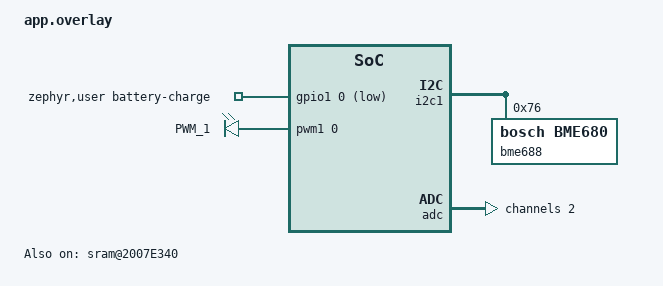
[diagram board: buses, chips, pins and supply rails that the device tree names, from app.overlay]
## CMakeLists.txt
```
#
# Copyright (c) 2021 Nordic Semiconductor ASA
#
# SPDX-License-Identifier: LicenseRef-Nordic-5-Clause
#

cmake_minimum_required(VERSION 3.20.0)

find_package(Zephyr REQUIRED HINTS $ENV{ZEPHYR_BASE})

project(matter-weather-station)

# Enable GNU STD support and initialize the Matter Data Model.
include(${ZEPHYR_CONNECTEDHOMEIP_MODULE_DIR}/config/nrfconnect/app/enable-gnu-std.cmake)
include(${ZEPHYR_CONNECTEDHOMEIP_MODULE_DIR}/src/app/chip_data_model.cmake)

# NORDIC SDK APP START

# Include all source files that are located in the Matter common directory.
include(${ZEPHYR_NRF_MODULE_DIR}/samples/matter/common/cmake/source_common.cmake)

target_include_directories(app PRIVATE
    src
    ${CONFIG_NCS_SAMPLE_MATTER_ZAP_FILES_PATH}
)

target_sources(app PRIVATE
    src/app_task.cpp
    src/main.cpp
    src/battery.cpp
    src/buzzer.cpp
)

chip_configure_data_model(app
    INCLUDE_SERVER
    BYPASS_IDL
    GEN_DIR ${CONFIG_NCS_SAMPLE_MATTER_ZAP_FILES_PATH}/zap-generated
    ZAP_FILE ${CMAKE_CURRENT_SOURCE_DIR}/${CONFIG_NCS_SAMPLE_MATTER_ZAP_FILES_PATH}/weather-station.zap
)
# NORDIC SDK APP END
```

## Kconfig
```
#
# Copyright (c) 2021 Nordic Semiconductor
#
# SPDX-License-Identifier: LicenseRef-Nordic-5-Clause
#

mainmenu "Matter weather station application"

config AVERAGE_CURRENT_CONSUMPTION
	int "Average device current consumption in microamperes"
	default 0
	help
	  The predicted average current consumption of the Matter weather station
	  device, used to estimate the remaining battery time.

# Application configuration used for Thread networking
if NET_L2_OPENTHREAD

choice OPENTHREAD_NORDIC_LIBRARY_CONFIGURATION
	default OPENTHREAD_NORDIC_LIBRARY_MTD
endchoice

choice OPENTHREAD_DEVICE_TYPE
	default OPENTHREAD_MTD
endchoice

config IEEE802154_NRF5_RX_STACK_SIZE
	default 8192

config CHIP_ENABLE_ICD_SUPPORT
	default y

endif # NET_L2_OPENTHREAD

if CHIP_WIFI

config NRF_WIFI_LOW_POWER
	default y

endif # CHIP_WIFI

source "${ZEPHYR_CONNECTEDHOMEIP_MODULE_DIR}/config/nrfconnect/chip-module/Kconfig.features"
source "${ZEPHYR_CONNECTEDHOMEIP_MODULE_DIR}/config/nrfconnect/chip-module/Kconfig.defaults"
source "${ZEPHYR_NRF_MODULE_DIR}/samples/matter/common/src/Kconfig"
source "Kconfig.zephyr"
```

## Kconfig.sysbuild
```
#
# Copyright (c) 2023 Nordic Semiconductor ASA
#
# SPDX-License-Identifier: LicenseRef-Nordic-5-Clause
#

#### Radio core
config NRF_DEFAULT_IPC_RADIO
	default y

# Enable IEEE802.15.4 serialization to network core
# This config automatically pulls in the `overlay-802154.conf` in the ipc_radio image
config NETCORE_IPC_RADIO_IEEE802154
	default y if !WIFI_NRF70

# Enable Bluetooth serialization to network core
# This config automatically pulls in the `overlay-bt_hci_ipc.conf` in the ipc_radio image
config NETCORE_IPC_RADIO_BT_HCI_IPC
	default y

choice BOOTLOADER
	default BOOTLOADER_MCUBOOT
endchoice

#### Bootloader
choice MCUBOOT_MODE
	default MCUBOOT_MODE_OVERWRITE_ONLY
endchoice

choice BOOT_SIGNATURE_TYPE
	default BOOT_SIGNATURE_TYPE_RSA
endchoice

config SECURE_BOOT_NETCORE
	default y

config NETCORE_APP_UPDATE
	default y

#### DFU multi-image support
config DFU_MULTI_IMAGE_PACKAGE_BUILD
	default y

config DFU_MULTI_IMAGE_PACKAGE_APP
	default y

config DFU_MULTI_IMAGE_PACKAGE_NET
	default y

config PM_EXTERNAL_FLASH_MCUBOOT_SECONDARY
	default y

source "${ZEPHYR_BASE}/share/sysbuild/Kconfig"
```

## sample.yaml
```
sample:
  name: Matter Weather Station
  description: Matter Weather Station application
tests:
  # This configuration is used for performing DFU over BLE between different NCS
  # applications on Thingy53.
  applications.matter_weather_station.debug.no_fd:
    sysbuild: true
    build_only: true
    platform_allow: thingy53/nrf5340/cpuapp
    platform_exclude: thingy53/nrf5340/cpuapp/ns
    integration_platforms:
      - thingy53/nrf5340/cpuapp
    tags: sysbuild ci_applications_matter
  applications.matter_weather_station.debug:
    sysbuild: true
    build_only: true
    extra_args: OVERLAY_CONFIG=overlay-factory_data.conf
      FILE_SUFFIX=factory_data
      CONFIG_CHIP_FACTORY_DATA=y SB_CONFIG_MATTER_FACTORY_DATA_GENERATE=y
    platform_allow: thingy53/nrf5340/cpuapp
    platform_exclude: thingy53/nrf5340/cpuapp/ns
    integration_platforms:
      - thingy53/nrf5340/cpuapp
    tags: sysbuild ci_applications_matter
  applications.matter_weather_station.release:
    sysbuild: true
    build_only: true
    extra_args: OVERLAY_CONFIG=overlay-factory_data.conf CONF_FILE=prj_release.conf
      FILE_SUFFIX=factory_data CONFIG_CHIP_FACTORY_DATA=y
      SB_CONFIG_MATTER_FACTORY_DATA_GENERATE=y
    platform_allow: thingy53/nrf5340/cpuapp
    platform_exclude: thingy53/nrf5340/cpuapp/ns
    integration_platforms:
      - thingy53/nrf5340/cpuapp
    tags: sysbuild ci_applications_matter
  applications.matter_weather_station.lto:
    sysbuild: true
    build_only: true
    extra_args: OVERLAY_CONFIG=overlay-factory_data.conf
      FILE_SUFFIX=factory_data CONFIG_CHIP_FACTORY_DATA=y
      SB_CONFIG_MATTER_FACTORY_DATA_GENERATE=y
      CONFIG_LTO=y CONFIG_ISR_TABLES_LOCAL_DECLARATION=y
    platform_allow: thingy53/nrf5340/cpuapp
    platform_exclude: thingy53/nrf5340/cpuapp/ns
    integration_platforms:
      - thingy53/nrf5340/cpuapp
    tags: sysbuild ci_applications_matter
  applications.matter_weather_station.nrf7002eb:
    sysbuild: true
    build_only: true
    extra_args: matter_weather_station_SHIELD=nrf7002eb FILE_SUFFIX=release
                SB_CONFIG_WIFI_NRF70=y CONFIG_CHIP_WIFI=y
    platform_allow: thingy53/nrf5340/cpuapp
    platform_exclude: thingy53/nrf5340/cpuapp/ns
    integration_platforms:
      - thingy53/nrf5340/cpuapp
    tags: sysbuild ci_applications_matter
```

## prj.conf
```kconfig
#
# Copyright (c) 2021 Nordic Semiconductor ASA
#
# SPDX-License-Identifier: LicenseRef-Nordic-5-Clause
#

# This sample uses Kconfig.defaults to set options common for all
# samples. This file should contain only options specific for this sample
# or overrides of default values.

# Enable CHIP
CONFIG_CHIP=y
CONFIG_CHIP_PROJECT_CONFIG="src/chip_project_config.h"
# 32781 == 0x800D (matter example of Temperature measurement device as NCS Weather Station)
CONFIG_CHIP_DEVICE_PRODUCT_ID=32781
CONFIG_STD_CPP17=y

# Enable Matter pairing automatically on application start.
CONFIG_CHIP_ENABLE_PAIRING_AUTOSTART=y

# Enable Matter extended announcement and increase duration to 1 hour.
CONFIG_CHIP_BLE_EXT_ADVERTISING=y
CONFIG_CHIP_BLE_ADVERTISING_DURATION=60

# Enable Bluetooth Low Energy
CONFIG_BT_DEVICE_NAME="MatterWeather"

# Add support for LEDs, buttons and buzzer
CONFIG_DK_LIBRARY=y
CONFIG_PWM=y

# Configure Thingy:53 sensors
CONFIG_I2C=y
CONFIG_SENSOR=y
CONFIG_BME680=y
CONFIG_ADC=y

# Suspend devices when the CPU goes into sleep
CONFIG_PM_DEVICE=y

# Other settings
CONFIG_IEEE802154_NRF5_RX_STACK_SIZE=8192
CONFIG_THREAD_NAME=y
CONFIG_MPU_STACK_GUARD=y
CONFIG_CHIP_LIB_SHELL=y
CONFIG_NCS_SAMPLE_MATTER_TEST_SHELL=y

# Average Thingy:53 current consumption
CONFIG_AVERAGE_CURRENT_CONSUMPTION=10000

# Enable DFU over Bluetooth LE SMP
CONFIG_CHIP_DFU_OVER_BT_SMP=y

# Increase system workqueue size, as SMP is processed within it
CONFIG_SYSTEM_WORKQUEUE_STACK_SIZE=4096

# 0x0302 (Temp. sensor)
CONFIG_CHIP_DEVICE_TYPE=770
CONFIG_BT_RX_STACK_SIZE=1500

# Configure UART logging and shell
CONFIG_LOG=y
CONFIG_LOG_MODE_DEFERRED=y
CONFIG_LOG_PROCESS_THREAD_STACK_SIZE=1024
CONFIG_LOG_BUFFER_SIZE=8192
CONFIG_LOG_FUNC_NAME_PREFIX_DBG=n
CONFIG_MATTER_LOG_LEVEL_DBG=y
CONFIG_SHELL=y
CONFIG_SHELL_LOG_BACKEND=y

# Configure USB CDC ACM
CONFIG_USB_DEVICE_INITIALIZE_AT_BOOT=n
CONFIG_USB_DEVICE_PRODUCT="Thingy:53 Matter Weather"
CONFIG_USB_DEVICE_PID=0x530D
CONFIG_UART_LINE_CTRL=y
CONFIG_SHELL_BACKEND_SERIAL_INIT_PRIORITY=51

# Enable Diagnostic Logs feature
CONFIG_NCS_SAMPLE_MATTER_DIAGNOSTIC_LOGS=y
CONFIG_NCS_SAMPLE_MATTER_DIAGNOSTIC_LOGS_CRASH_LOGS=y
CONFIG_NCS_SAMPLE_MATTER_DIAGNOSTIC_LOGS_REMOVE_CRASH_AFTER_READ=y
CONFIG_NCS_SAMPLE_MATTER_DIAGNOSTIC_LOGS_END_USER_LOGS=y
CONFIG_NCS_SAMPLE_MATTER_DIAGNOSTIC_LOGS_NETWORK_LOGS=y

# Enable test event triggers for diagnostic logs testing purposes.
CONFIG_NCS_SAMPLE_MATTER_DIAGNOSTIC_LOGS_TEST=y

# Set the NVS sector count to match the settings partition size that is 64 kB for this application.
CONFIG_SETTINGS_NVS_SECTOR_COUNT=16
```

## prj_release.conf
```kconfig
#
# Copyright (c) 2021 Nordic Semiconductor ASA
#
# SPDX-License-Identifier: LicenseRef-Nordic-5-Clause
#

# This sample uses Kconfig.defaults to set options common for all
# samples. This file should contain only options specific for this sample
# or overrides of default values.

# Enable CHIP
CONFIG_CHIP=y
CONFIG_CHIP_PROJECT_CONFIG="src/chip_project_config.h"
# 32781 == 0x800D (matter example of Temperature measurement device as NCS Weather Station)
CONFIG_CHIP_DEVICE_PRODUCT_ID=32781
CONFIG_STD_CPP17=y

# Enable Matter pairing automatically on application start.
CONFIG_CHIP_ENABLE_PAIRING_AUTOSTART=y

# Enable Matter extended announcement and increase duration to 1 hour.
CONFIG_CHIP_BLE_EXT_ADVERTISING=y
CONFIG_CHIP_BLE_ADVERTISING_DURATION=60

# Enable Bluetooth Low Energy
CONFIG_BT_DEVICE_NAME="MatterWeather"

# Add support for LEDs, buttons and buzzer
CONFIG_DK_LIBRARY=y
CONFIG_PWM=y

# Configure Thingy:53 sensors
CONFIG_I2C=y
CONFIG_SENSOR=y
CONFIG_BME680=y
CONFIG_ADC=y

# Suspend devices when the CPU goes into sleep
CONFIG_PM_DEVICE=y

# Average Thingy:53 current consumption
CONFIG_AVERAGE_CURRENT_CONSUMPTION=10000

# Enable DFU over Bluetooth LE SMP
CONFIG_CHIP_DFU_OVER_BT_SMP=y

# Increase system workqueue size, as SMP is processed within it
CONFIG_SYSTEM_WORKQUEUE_STACK_SIZE=4096

# 0x0302 (Temp. sensor)
CONFIG_CHIP_DEVICE_TYPE=770
CONFIG_BT_RX_STACK_SIZE=1500

# Disable all debug features
CONFIG_SHELL=n
CONFIG_OPENTHREAD_SHELL=n
CONFIG_CONSOLE=n
CONFIG_UART_CONSOLE=n
CONFIG_SERIAL=n
CONFIG_LOG=n
CONFIG_LOG_MODE_MINIMAL=n
CONFIG_THREAD_NAME=n
CONFIG_ASSERT_VERBOSE=n
CONFIG_ASSERT_NO_FILE_INFO=y

# Disable USB CDC ACM
CONFIG_BOARD_SERIAL_BACKEND_CDC_ACM=n

# Enable Watchdog
CONFIG_NCS_SAMPLE_MATTER_WATCHDOG=y

# Enable Diagnostic Logs feature
CONFIG_NCS_SAMPLE_MATTER_DIAGNOSTIC_LOGS=y
CONFIG_NCS_SAMPLE_MATTER_DIAGNOSTIC_LOGS_CRASH_LOGS=y
CONFIG_NCS_SAMPLE_MATTER_DIAGNOSTIC_LOGS_REMOVE_CRASH_AFTER_READ=y
CONFIG_NCS_SAMPLE_MATTER_DIAGNOSTIC_LOGS_END_USER_LOGS=y
CONFIG_NCS_SAMPLE_MATTER_DIAGNOSTIC_LOGS_NETWORK_LOGS=y

# Enable test event triggers for diagnostic logs testing purposes.
CONFIG_NCS_SAMPLE_MATTER_DIAGNOSTIC_LOGS_TEST=y

# Set the NVS sector count to match the settings partition size that is 64 kB for this application.
CONFIG_SETTINGS_NVS_SECTOR_COUNT=16
```

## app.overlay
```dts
/*
 * Copyright (c) 2021 Nordic Semiconductor ASA
 *
 * SPDX-License-Identifier: LicenseRef-Nordic-5-Clause
 */

#include <zephyr/dt-bindings/ipc_service/static_vrings.h>

/ {
	zephyr,user {
		battery-charge-gpios = <&gpio1 0 (GPIO_PULL_UP | GPIO_ACTIVE_LOW)>;
	};

	pwmbuzzer {
		compatible = "pwm-leds";
		status = "okay";

		buzzer: buzzer_pwm {
			pwms = <&pwm1 0 PWM_HZ(100) PWM_POLARITY_NORMAL>;
			label = "PWM_1";
		};
	};

	aliases {
		buzzer-pwm = &buzzer;
	};

	sram@2007E340 {
		compatible = "zephyr,memory-region", "mmio-sram";
		reg = <0x2007E340 0x1CC0>;
		zephyr,memory-region = "DiagnosticLogMem";
		status = "okay";
		retainedmem {
			compatible = "zephyr,retained-ram";
			status = "okay";
			#address-cells = <1>;
			#size-cells = <1>;
			/* Reserve 192 B for the crash logs. */
			crash_retention: retention@0 {
					compatible = "zephyr,retention";
					status = "okay";
					reg = <0x0 0xC0>;
					prefix = [08 04];
					checksum = <2>;
			};

			/* Reserve 6 kB for the network logs. */
			network_logs_retention: retention@c0 {
					compatible = "zephyr,retention";
					status = "okay";
					reg = <0xC0 0x1800>;
					prefix = [06 03];
					checksum = <2>;
			};

			/* Reserve 1 kB for the end user logs. */
			end_user_logs_retention: retention@18c0 {
					compatible = "zephyr,retention";
					status = "okay";
					reg = <0x18C0 0x400>;
					prefix = [05 02];
					checksum = <2>;
			};
		};
	};
};

/* Set IPC thread priority to the highest value to not collide with other threads. */
&ipc0 {
    zephyr,priority = <0 PRIO_COOP>;
};

&i2c1 {
	bme688@76 {
		compatible = "bosch,bme680";
		reg = <0x76>;
	};
};

&adc {
	#address-cells = <1>;
	#size-cells = <0>;

	channel@2 {
		reg = <2>;
		zephyr,gain = "ADC_GAIN_1";
		zephyr,reference = "ADC_REF_INTERNAL";
		zephyr,acquisition-time = <ADC_ACQ_TIME(ADC_ACQ_TIME_MICROSECONDS, 40)>;
		zephyr,input-positive = <NRF_SAADC_AIN2>;
		zephyr,resolution = <12>;
		zephyr,oversampling = <4>;
	};
};

/* Disable unused peripherals to reduce power consumption */
&pwm0 {
	status = "disabled";
};
&pwm2 {
	status = "disabled";
};

/* Reduce SRAM0 usage by 7360 B to account for non-init area */
&sram0 {
	reg = <0x20000000 0x7E340>;
};
```

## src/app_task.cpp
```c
/*
 * Copyright (c) 2021 Nordic Semiconductor ASA
 *
 * SPDX-License-Identifier: LicenseRef-Nordic-5-Clause
 */

#include "app_task.h"

#include "battery.h"
#include "buzzer.h"

#include "app/matter_init.h"
#include "app/task_executor.h"
#include "board/board.h"
#include "board/led_widget.h"

#ifdef CONFIG_CHIP_OTA_REQUESTOR
#include "dfu/ota/ota_util.h"
#endif

#ifdef CONFIG_MCUMGR_TRANSPORT_BT
#include "dfu/smp/dfu_over_smp.h"
#endif

#include <app-common/zap-generated/attributes/Accessors.h>
#include <app-common/zap-generated/cluster-objects.h>
#include <app/server/OnboardingCodesUtil.h>
#include <app/server/Server.h>

#include <zephyr/drivers/sensor.h>
#include <zephyr/logging/log.h>

LOG_MODULE_DECLARE(app, CONFIG_CHIP_APP_LOG_LEVEL);

using namespace ::chip;
using namespace ::chip::DeviceLayer;
using namespace ::chip::app;

namespace
{
enum class FunctionTimerMode { kDisabled, kFactoryResetTrigger, kFactoryResetComplete };
enum class LedState { kAlive, kAdvertisingBle, kConnectedBle, kProvisioned };

#if CONFIG_AVERAGE_CURRENT_CONSUMPTION <= 0
#error Invalid CONFIG_AVERAGE_CURRENT_CONSUMPTION value set
#endif

constexpr size_t kMeasurementsIntervalMs = 3000;
constexpr uint8_t kTemperatureMeasurementEndpointId = 1;
constexpr int16_t kTemperatureMeasurementAttributeMaxValue = 0x7fff;
constexpr int16_t kTemperatureMeasurementAttributeMinValue = 0x954d;
constexpr int16_t kTemperatureMeasurementAttributeInvalidValue = 0x8000;
constexpr uint8_t kHumidityMeasurementEndpointId = 2;
constexpr uint16_t kHumidityMeasurementAttributeMaxValue = 0x2710;
constexpr uint16_t kHumidityMeasurementAttributeMinValue = 0;
constexpr uint16_t kHumidityMeasurementAttributeInvalidValue = 0xffff;
constexpr uint8_t kPressureMeasurementEndpointId = 3;
constexpr int16_t kPressureMeasurementAttributeMaxValue = 0x7fff;
constexpr int16_t kPressureMeasurementAttributeMinValue = 0x8001;
constexpr int16_t kPressureMeasurementAttributeInvalidValue = 0x8000;
constexpr uint8_t kPowerSourceEndpointId = 0;
constexpr int16_t kMinimalOperatingVoltageMv = 3200;
constexpr int16_t kMaximalOperatingVoltageMv = 4050;
constexpr int16_t kWarningThresholdVoltageMv = 3450;
constexpr int16_t kCriticalThresholdVoltageMv = 3250;
constexpr uint8_t kMinBatteryPercentage = 0;
/* Value is expressed in half percent units ranging from 0 to 200. */
constexpr uint8_t kMaxBatteryPercentage = 200;
/* Battery capacity in uAh */
constexpr uint32_t kBatteryCapacityUaH = 1350000;
/* Average device current consumption in uA */
constexpr uint32_t kDeviceAverageCurrentConsumptionUa = CONFIG_AVERAGE_CURRENT_CONSUMPTION;
/* Fully charged battery operation time in seconds */
constexpr uint32_t kFullBatteryOperationTime = kBatteryCapacityUaH / kDeviceAverageCurrentConsumptionUa * 3600;
/* It is recommended to toggle the signalled state with 0.5 s interval. */
constexpr size_t kIdentifyTimerIntervalMs = 500;

k_timer sMeasurementsTimer;
k_timer sIdentifyTimer;

const device *sBme688SensorDev = DEVICE_DT_GET_ONE(bosch_bme680);

/* Add identify for all endpoints */
Identify sIdentifyTemperature = { chip::EndpointId{ kTemperatureMeasurementEndpointId }, AppTask::OnIdentifyStart,
				  AppTask::OnIdentifyStop, Clusters::Identify::IdentifyTypeEnum::kAudibleBeep };
Identify sIdentifyHumidity = { chip::EndpointId{ kHumidityMeasurementEndpointId }, AppTask::OnIdentifyStart,
			       AppTask::OnIdentifyStop, Clusters::Identify::IdentifyTypeEnum::kAudibleBeep };
Identify sIdentifyPressure = { chip::EndpointId{ kPressureMeasurementEndpointId }, AppTask::OnIdentifyStart,
			       AppTask::OnIdentifyStop, Clusters::Identify::IdentifyTypeEnum::kAudibleBeep };

} /* namespace */

void AppTask::MeasurementsTimerHandler()
{
	Instance().UpdateClustersState();
}

void AppTask::OnIdentifyStart(Identify *)
{
	Nrf::PostTask(
		[] { Nrf::GetBoard().GetLED(Nrf::DeviceLeds::LED2).Blink(Nrf::LedConsts::kIdentifyBlinkRate_ms); });
	k_timer_start(&sIdentifyTimer, K_MSEC(kIdentifyTimerIntervalMs), K_MSEC(kIdentifyTimerIntervalMs));
}

void AppTask::OnIdentifyStop(Identify *)
{
	k_timer_stop(&sIdentifyTimer);
	BuzzerSetState(false);
}

void AppTask::IdentifyTimerHandler()
{
	BuzzerToggleState();
}

void AppTask::UpdateTemperatureClusterState()
{
	struct sensor_value sTemperature;
	Protocols::InteractionModel::Status status;
	int result = sensor_channel_get(sBme688SensorDev, SENSOR_CHAN_AMBIENT_TEMP, &sTemperature);
	if (result == 0) {
		/* Defined by cluster temperature measured value = 100 x temperature in degC with resolution of
		 * 0.01 degC. val1 is an integer part of the value and val2 is fractional part in one-millionth
		 * parts. To achieve resolution of 0.01 degC val2 needs to be divided by 10000. */
		int16_t newValue = static_cast<int16_t>(sTemperature.val1 * 100 + sTemperature.val2 / 10000);

		if (newValue > kTemperatureMeasurementAttributeMaxValue ||
		    newValue < kTemperatureMeasurementAttributeMinValue) {
			/* Read value exceeds permitted limits, so assign invalid value code to it. */
			newValue = kTemperatureMeasurementAttributeInvalidValue;
		}
		LOG_DBG("New temperature measurement %d.%d *C", sTemperature.val1, sTemperature.val2);

		status = Clusters::TemperatureMeasurement::Attributes::MeasuredValue::Set(
			kTemperatureMeasurementEndpointId, newValue);
		if (status != Protocols::InteractionModel::Status::Success) {
			LOG_ERR("Updating temperature measurement %x", to_underlying(status));
		}
	} else {
		LOG_ERR("Getting temperature measurement data from BME688 failed with: %d", result);
	}
}

void AppTask::UpdatePressureClusterState()
{
	struct sensor_value sPressure;
	Protocols::InteractionModel::Status status;
	int result = sensor_channel_get(sBme688SensorDev, SENSOR_CHAN_PRESS, &sPressure);
	if (result == 0) {
		/* Defined by cluster pressure measured value = 10 x pressure in kPa with resolution of 0.1 kPa.
		 * val1 is an integer part of the value and val2 is fractional part in one-millionth parts.
		 * To achieve resolution of 0.1 kPa val2 needs to be divided by 100000. */
		int16_t newValue = static_cast<int16_t>(sPressure.val1 * 10 + sPressure.val2 / 100000);

		if (newValue > kPressureMeasurementAttributeMaxValue ||
		    newValue < kPressureMeasurementAttributeMinValue) {
			/* Read value exceeds permitted limits, so assign invalid value code to it. */
			newValue = kPressureMeasurementAttributeInvalidValue;
		}
		LOG_DBG("New pressure measurement %d.%d kPa", sPressure.val1, sPressure.val2);

		status = Clusters::PressureMeasurement::Attributes::MeasuredValue::Set(kPressureMeasurementEndpointId,
										       newValue);
		if (status != Protocols::InteractionModel::Status::Success) {
			LOG_ERR("Updating pressure measurement %x", to_underlying(status));
		}
	} else {
		LOG_ERR("Getting pressure measurement data from BME688 failed with: %d", result);
	}
}

void AppTask::UpdateRelativeHumidityClusterState()
{
	struct sensor_value sHumidity;
	Protocols::InteractionModel::Status status;
	int result = sensor_channel_get(sBme688SensorDev, SENSOR_CHAN_HUMIDITY, &sHumidity);
	if (result == 0) {
		/* Defined by cluster humidity measured value = 100 x humidity in %RH with resolution of 0.01 %.
		 * val1 is an integer part of the value and val2 is fractional part in one-millionth parts.
		 * To achieve resolution of 0.01 % val2 needs to be divided by 10000. */
		uint16_t newValue = static_cast<int16_t>(sHumidity.val1 * 100 + sHumidity.val2 / 10000);

		if (newValue > kHumidityMeasurementAttributeMaxValue ||
		    newValue < kHumidityMeasurementAttributeMinValue) {
			/* Read value exceeds permitted limits, so assign invalid value code to it. */
			newValue = kHumidityMeasurementAttributeInvalidValue;
		}
		LOG_DBG("New humidity measurement %d.%d %%", sHumidity.val1, sHumidity.val2);

		status = Clusters::RelativeHumidityMeasurement::Attributes::MeasuredValue::Set(
			kHumidityMeasurementEndpointId, newValue);
		if (status != Protocols::InteractionModel::Status::Success) {
			LOG_ERR("Updating relative humidity measurement %x", to_underlying(status));
		}
	} else {
		LOG_ERR("Getting humidity measurement data from BME688 failed with: %d", result);
	}
}

void AppTask::UpdatePowerSourceClusterState()
{
	Protocols::InteractionModel::Status status;
	int32_t voltage = BatteryMeasurementReadVoltageMv();
	/* Value is expressed in half percent units ranging from 0 to 200. */
	uint8_t batteryPercentage;
	uint32_t batteryTimeRemaining;
	Clusters::PowerSource::PowerSourceStatusEnum batteryStatus;
	Clusters::PowerSource::BatChargeLevelEnum batteryChargeLevel;
	bool batteryPresent;
	Clusters::PowerSource::BatChargeStateEnum batteryCharged;

	if (voltage < 0) {
		voltage = 0;
		batteryPercentage = 0;
		batteryStatus = Clusters::PowerSource::PowerSourceStatusEnum::kUnavailable;
		batteryPresent = false;

		LOG_ERR("Battery level measurement failed %d", voltage);
	} else {
		batteryStatus = Clusters::PowerSource::PowerSourceStatusEnum::kActive;
		batteryPresent = true;
	}

	if (voltage <= kMinimalOperatingVoltageMv) {
		batteryPercentage = kMinBatteryPercentage;
	} else if (voltage >= kMaximalOperatingVoltageMv) {
		batteryPercentage = kMaxBatteryPercentage;
	} else {
		batteryPercentage = kMaxBatteryPercentage * (voltage - kMinimalOperatingVoltageMv) /
				    (kMaximalOperatingVoltageMv - kMinimalOperatingVoltageMv);
	}

	batteryTimeRemaining = kFullBatteryOperationTime * batteryPercentage / kMaxBatteryPercentage;

	if (voltage < kCriticalThresholdVoltageMv) {
		batteryChargeLevel = Clusters::PowerSource::BatChargeLevelEnum::kCritical;
	} else if (voltage < kWarningThresholdVoltageMv) {
		batteryChargeLevel = Clusters::PowerSource::BatChargeLevelEnum::kWarning;
	} else {
		batteryChargeLevel = Clusters::PowerSource::BatChargeLevelEnum::kOk;
	}

	if (BatteryCharged()) {
		batteryCharged = Clusters::PowerSource::BatChargeStateEnum::kIsCharging;
	} else {
		batteryCharged = Clusters::PowerSource::BatChargeStateEnum::kIsNotCharging;
	}

	status = Clusters::PowerSource::Attributes::BatVoltage::Set(kPowerSourceEndpointId, voltage);
	if (status != Protocols::InteractionModel::Status::Success) {
		LOG_ERR("Updating battery voltage failed %x", to_underlying(status));
	}

	status = Clusters::PowerSource::Attributes::BatPercentRemaining::Set(kPowerSourceEndpointId, batteryPercentage);
	if (status != Protocols::InteractionModel::Status::Success) {
		LOG_ERR("Updating battery percentage failed %x", to_underlying(status));
	}

	status = Clusters::PowerSource::Attributes::BatTimeRemaining::Set(kPowerSourceEndpointId, batteryTimeRemaining);
	if (status != Protocols::InteractionModel::Status::Success) {
		LOG_ERR("Updating battery time remaining failed %x", to_underlying(status));
	}

	status = Clusters::PowerSource::Attributes::BatChargeLevel::Set(kPowerSourceEndpointId, batteryChargeLevel);
	if (status != Protocols::InteractionModel::Status::Success) {
		LOG_ERR("Updating battery charge level failed %x", to_underlying(status));
	}

	status = Clusters::PowerSource::Attributes::Status::Set(kPowerSourceEndpointId, batteryStatus);
	if (status != Protocols::InteractionModel::Status::Success) {
		LOG_ERR("Updating battery status failed %x", to_underlying(status));
	}

	status = Clusters::PowerSource::Attributes::BatPresent::Set(kPowerSourceEndpointId, batteryPresent);
	if (status != Protocols::InteractionModel::Status::Success) {
		LOG_ERR("Updating battery present failed %x", to_underlying(status));
	}

	status = Clusters::PowerSource::Attributes::BatChargeState::Set(kPowerSourceEndpointId, batteryCharged);
	if (status != Protocols::InteractionModel::Status::Success) {
		LOG_ERR("Updating battery charge failed %x", to_underlying(status));
	}
}

void AppTask::UpdateClustersState()
{
	const int result = sensor_sample_fetch(sBme688SensorDev);

	if (result == 0) {
		UpdateTemperatureClusterState();
		UpdatePressureClusterState();
		UpdateRelativeHumidityClusterState();
	} else {
		LOG_ERR("Fetching data from BME688 sensor failed with: %d", result);
	}

	UpdatePowerSourceClusterState();
}

void AppTask::UpdateLedState()
{
	if (!Instance().mGreenLED || !Instance().mBlueLED || !Instance().mRedLED) {
		return;
	}

	Instance().mGreenLED->Set(false);
	Instance().mBlueLED->Set(false);
	Instance().mRedLED->Set(false);

	switch (Nrf::GetBoard().GetDeviceState()) {
	case Nrf::DeviceState::DeviceAdvertisingBLE:
		Instance().mBlueLED->Blink(Nrf::LedConsts::StatusLed::Disconnected::kOn_ms,
					   Nrf::LedConsts::StatusLed::Disconnected::kOff_ms);
		break;
	case Nrf::DeviceState::DeviceDisconnected:
		Instance().mGreenLED->Blink(Nrf::LedConsts::StatusLed::Disconnected::kOn_ms,
					    Nrf::LedConsts::StatusLed::Disconnected::kOff_ms);
		break;
	case Nrf::DeviceState::DeviceConnectedBLE:
		Instance().mBlueLED->Blink(Nrf::LedConsts::StatusLed::BleConnected::kOn_ms,
					   Nrf::LedConsts::StatusLed::BleConnected::kOff_ms);
		break;
	case Nrf::DeviceState::DeviceProvisioned:
		Instance().mRedLED->Blink(Nrf::LedConsts::StatusLed::Disconnected::kOn_ms,
					  Nrf::LedConsts::StatusLed::Disconnected::kOff_ms);
		Instance().mBlueLED->Blink(Nrf::LedConsts::StatusLed::Disconnected::kOn_ms,
					   Nrf::LedConsts::StatusLed::Disconnected::kOff_ms);
		break;
	default:
		break;
	}
}

CHIP_ERROR AppTask::Init()
{
	/* Initialize Matter stack */
#ifdef CONFIG_MCUMGR_TRANSPORT_BT
	ReturnErrorOnFailure(
		Nrf::Matter::PrepareServer(Nrf::Matter::InitData{ .mPostServerInitClbk = []() -> CHIP_ERROR {
			Nrf::GetDFUOverSMP().StartServer();
			return CHIP_NO_ERROR;
		} }));
#else
	ReturnErrorOnFailure(Nrf::Matter::PrepareServer());
#endif

	/* Set references for RGB LED */
	mRedLED = &Nrf::GetBoard().GetLED(Nrf::DeviceLeds::LED1);
	mGreenLED = &Nrf::GetBoard().GetLED(Nrf::DeviceLeds::LED2);
	mBlueLED = &Nrf::GetBoard().GetLED(Nrf::DeviceLeds::LED3);

	if (!Nrf::GetBoard().Init(nullptr, UpdateLedState)) {
		LOG_ERR("User interface initialization failed.");
		return CHIP_ERROR_INCORRECT_STATE;
	}

	/* Register Matter event handler that controls the connectivity status LED based on the captured Matter network
	 * state. */
	ReturnErrorOnFailure(Nrf::Matter::RegisterEventHandler(Nrf::Board::DefaultMatterEventHandler, 0));

	if (!device_is_ready(sBme688SensorDev)) {
		LOG_ERR("BME688 sensor device not ready");
		return chip::System::MapErrorZephyr(-ENODEV);
	}

	int ret = BatteryMeasurementInit();
	if (ret) {
		LOG_ERR("Battery measurement init failed");
		return chip::System::MapErrorZephyr(ret);
	}

	ret = BatteryMeasurementEnable();
	if (ret) {
		LOG_ERR("Enabling battery measurement failed");
		return chip::System::MapErrorZephyr(ret);
	}

	ret = BatteryChargeControlInit();
	if (ret) {
		LOG_ERR("Battery charge control init failed");
		return chip::System::MapErrorZephyr(ret);
	}

	ret = BuzzerInit();
	if (ret) {
		LOG_ERR("Buzzer init failed");
		return chip::System::MapErrorZephyr(ret);
	}

	/* Initialize timers */
	k_timer_init(
		&sMeasurementsTimer, [](k_timer *) { Nrf::PostTask([] { MeasurementsTimerHandler(); }); }, nullptr);
	k_timer_init(&sIdentifyTimer, [](k_timer *) { Nrf::PostTask([] { IdentifyTimerHandler(); }); }, nullptr);
	k_timer_start(&sMeasurementsTimer, K_MSEC(kMeasurementsIntervalMs), K_MSEC(kMeasurementsIntervalMs));

	return Nrf::Matter::StartServer();
}

CHIP_ERROR AppTask::StartApp()
{
	ReturnErrorOnFailure(Init());

	while (true) {
		Nrf::DispatchNextTask();
	}

	return CHIP_NO_ERROR;
}
```
